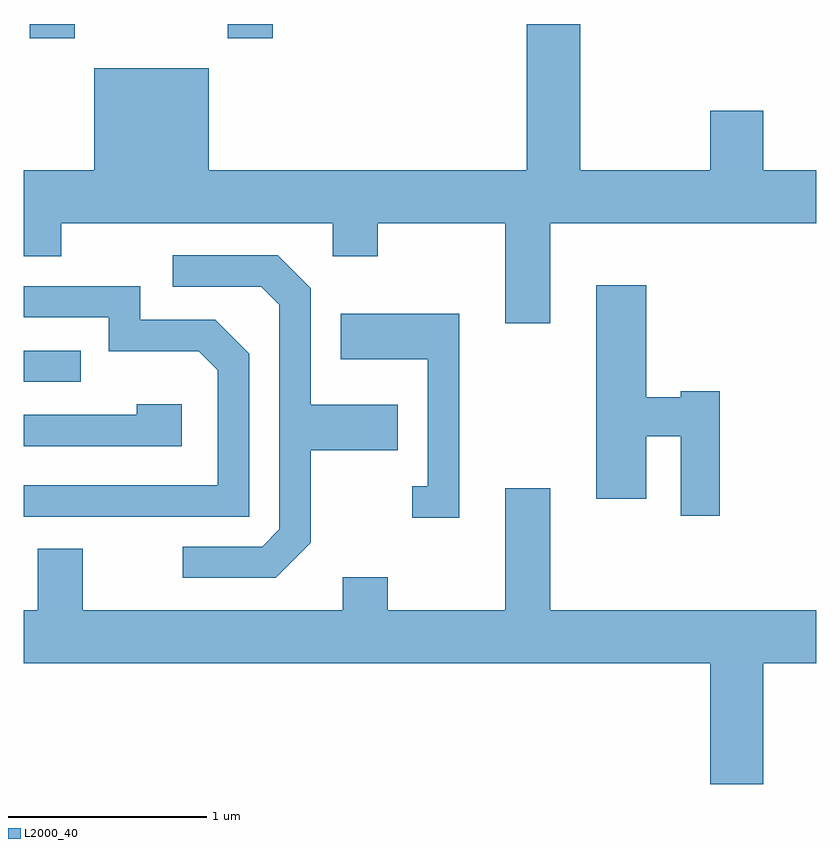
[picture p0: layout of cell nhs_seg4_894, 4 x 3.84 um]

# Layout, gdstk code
import gdstk
lib = gdstk.Library(unit=1e-6, precision=1e-09)
def R(c, l, rs):  # rectangles x0, y0, x1, y1
    for r in rs: c.add(gdstk.rectangle(r[:2], r[2:], *l))
def P(c, l, *ps):  # polygons
    for p in ps: c.add(gdstk.Polygon(p, *l))
L2000_40 = (2000, 40)

nhs_seg4_894 = lib.new_cell('nhs_seg4_894')
R(nhs_seg4_894, L2000_40, [(211.611,1276.176,211.898,1276.334), (211.641,1277.911,211.869,1277.982), (212.641,1277.911,212.869,1277.982)])
P(nhs_seg4_894, L2000_40, [(214.269,1276.976),(215.611,1276.976),(215.611,1277.244),(215.344,1277.244),(215.344,1277.544),(215.076,1277.544),(215.076,1277.244),(214.419,1277.244),(214.419,1277.982),(214.151,1277.982),(214.151,1277.244),(212.544,1277.244),(212.544,1277.759),(211.966,1277.759),(211.966,1277.244),(211.611,1277.244),(211.611,1276.811),(211.799,1276.811),(211.799,1276.976),(213.171,1276.976),(213.171,1276.811),(213.399,1276.811),(213.399,1276.976),(214.041,1276.976),(214.041,1276.471),(214.269,1276.471)],
  [(213.059,1275.364),(213.059,1275.831),(213.499,1275.831),(213.499,1276.059),(213.059,1276.059),(213.059,1276.647),(212.892,1276.814),(212.363,1276.814),(212.363,1276.656),(212.809,1276.656),(212.901,1276.564),(212.901,1275.432),(212.814,1275.344),(212.413,1275.344),(212.413,1275.186),(212.882,1275.186)],
  [(215.124,1276.129),(214.926,1276.129),(214.926,1276.099),(214.754,1276.099),(214.754,1276.664),(214.501,1276.664),(214.501,1275.586),(214.754,1275.586),(214.754,1275.901),(214.926,1275.901),(214.926,1275.501),(215.124,1275.501)],
  [(212.749,1276.317),(212.577,1276.489),(212.199,1276.489),(212.199,1276.659),(211.611,1276.659),(211.611,1276.501),(212.041,1276.501),(212.041,1276.331),(212.494,1276.331),(212.591,1276.234),(212.591,1275.654),(211.611,1275.654),(211.611,1275.496),(212.749,1275.496)],
  [(213.809,1276.519),(213.211,1276.519),(213.211,1276.291),(213.651,1276.291),(213.651,1275.649),(213.573,1275.649),(213.573,1275.491),(213.809,1275.491)],
  [(212.409,1276.064),(212.181,1276.064),(212.181,1276.009),(211.611,1276.009),(211.611,1275.851),(212.409,1275.851)],
  [(215.344,1274.756),(215.611,1274.756),(215.611,1275.024),(214.269,1275.024),(214.269,1275.639),(214.041,1275.639),(214.041,1275.024),(213.449,1275.024),(213.449,1275.189),(213.221,1275.189),(213.221,1275.024),(211.909,1275.024),(211.909,1275.334),(211.681,1275.334),(211.681,1275.024),(211.611,1275.024),(211.611,1274.756),(215.076,1274.756),(215.076,1274.146),(215.344,1274.146)])

lib.write_gds('nhs_seg4_894.gds')
